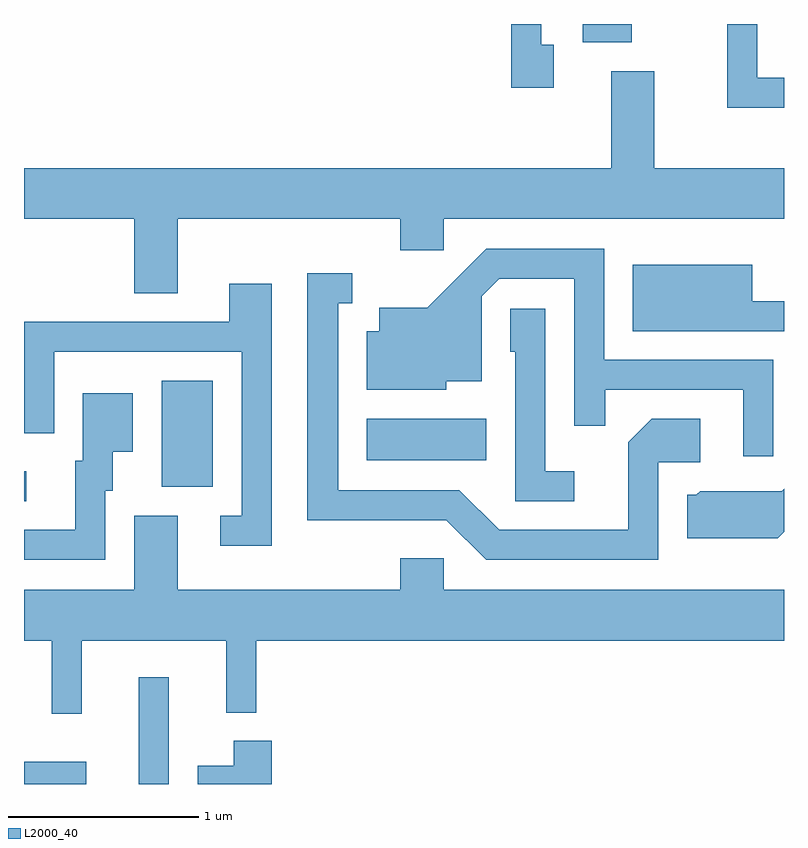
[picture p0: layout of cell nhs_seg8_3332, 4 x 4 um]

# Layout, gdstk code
import gdstk
lib = gdstk.Library(unit=1e-6, precision=1e-09)
def R(c, l, rs):  # rectangles x0, y0, x1, y1
    for r in rs: c.add(gdstk.rectangle(r[:2], r[2:], *l))
def P(c, l, *ps):  # polygons
    for p in ps: c.add(gdstk.Polygon(p, *l))
L2000_40 = (2000, 40)

nhs_seg8_3332 = lib.new_cell('nhs_seg8_3332')
R(nhs_seg8_3332, L2000_40, [(285.611,1822.342,285.939,1822.459), (286.216,1822.342,286.374,1822.903), (285.611,1823.831,285.623,1823.989), (286.336,1823.906,286.604,1824.464), (287.416,1824.046,288.044,1824.264), (288.551,1826.246,288.809,1826.342)])
P(nhs_seg8_3332, L2000_40, [(288.399,1826.234),(288.334,1826.234),(288.334,1826.342),(288.176,1826.342),(288.176,1826.006),(288.399,1826.006)],
  [(289.611,1826.059),(289.469,1826.059),(289.469,1826.342),(289.311,1826.342),(289.311,1825.901),(289.611,1825.901)],
  [(286.419,1825.316),(287.591,1825.316),(287.591,1825.151),(287.819,1825.151),(287.819,1825.316),(289.611,1825.316),(289.611,1825.584),(288.929,1825.584),(288.929,1826.094),(288.701,1826.094),(288.701,1825.584),(285.611,1825.584),(285.611,1825.316),(286.191,1825.316),(286.191,1824.926),(286.419,1824.926)],
  [(289.554,1824.574),(288.664,1824.574),(288.664,1825.159),(288.044,1825.159),(287.734,1824.849),(287.481,1824.849),(287.481,1824.724),(287.416,1824.724),(287.416,1824.416),(287.834,1824.416),(287.834,1824.461),(288.019,1824.461),(288.019,1824.909),(288.112,1825.001),(288.506,1825.001),(288.506,1824.228),(288.669,1824.228),(288.669,1824.416),(289.396,1824.416),(289.396,1824.068),(289.554,1824.068)],
  [(289.611,1824.884),(289.444,1824.884),(289.444,1825.074),(288.816,1825.074),(288.816,1824.726),(289.611,1824.726)],
  [(288.949,1824.036),(289.169,1824.036),(289.169,1824.264),(288.914,1824.264),(288.791,1824.142),(288.791,1823.679),(288.112,1823.679),(287.902,1823.889),(287.264,1823.889),(287.264,1824.871),(287.338,1824.871),(287.338,1825.029),(287.101,1825.029),(287.101,1823.731),(287.834,1823.731),(288.044,1823.521),(288.949,1823.521)],
  [(286.914,1824.974),(286.691,1824.974),(286.691,1824.774),(285.611,1824.774),(285.611,1824.188),(285.769,1824.188),(285.769,1824.616),(286.756,1824.616),(286.756,1823.754),(286.643,1823.754),(286.643,1823.596),(286.914,1823.596)],
  [(288.508,1823.989),(288.354,1823.989),(288.354,1824.844),(288.171,1824.844),(288.171,1824.616),(288.196,1824.616),(288.196,1823.831),(288.508,1823.831)],
  [(286.039,1823.886),(286.079,1823.886),(286.079,1824.091),(286.184,1824.091),(286.184,1824.399),(285.921,1824.399),(285.921,1824.044),(285.881,1824.044),(285.881,1823.679),(285.611,1823.679),(285.611,1823.521),(286.039,1823.521)],
  [(289.611,1823.67),(289.611,1823.896),(289.599,1823.884),(289.169,1823.884),(289.149,1823.864),(289.101,1823.864),(289.101,1823.636),(289.577,1823.636)],
  [(285.914,1823.096),(286.676,1823.096),(286.676,1822.718),(286.834,1822.718),(286.834,1823.096),(289.611,1823.096),(289.611,1823.364),(287.819,1823.364),(287.819,1823.529),(287.591,1823.529),(287.591,1823.364),(286.419,1823.364),(286.419,1823.754),(286.191,1823.754),(286.191,1823.364),(285.611,1823.364),(285.611,1823.096),(285.756,1823.096),(285.756,1822.713),(285.914,1822.713)],
  [(286.914,1822.569),(286.716,1822.569),(286.716,1822.439),(286.526,1822.439),(286.526,1822.342),(286.914,1822.342)])

lib.write_gds('nhs_seg8_3332.gds')
